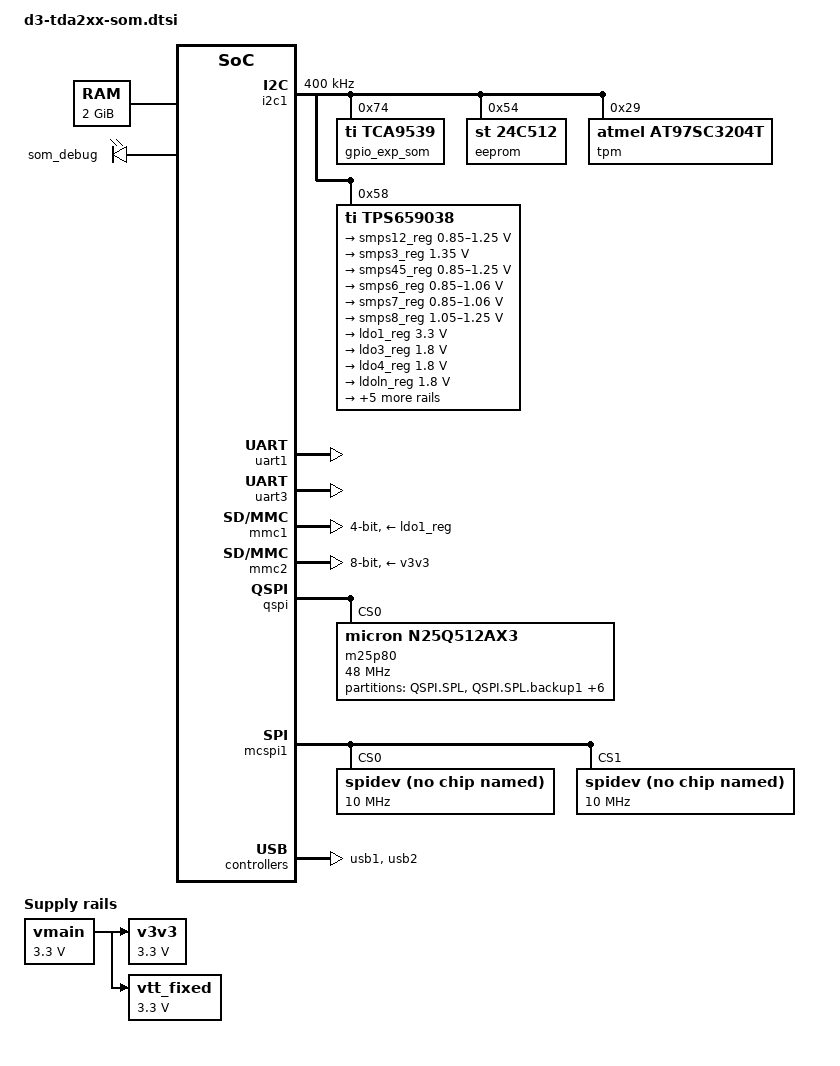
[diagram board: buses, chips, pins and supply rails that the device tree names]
/*
 * Copyright (C) 2016 D3 Engineering
 *
 * Based on am571x-idk.dts
 * Copyright (C) 2015 Texas Instruments Incorporated
 *
 * This program is free software; you can redistribute it and/or modify
 * it under the terms of the GNU General Public License version 2 as
 * published by the Free Software Foundation.
 *
 * This file describes PCB-00C008101. It should describe all components located
 * directly on the SOM board. Additionally, this file should enable a default
 * set of peripheral busses (i2c, mmc, etc) expected to be used by baseboards.
 *
 */

#include <dt-bindings/gpio/gpio.h>
#include <dt-bindings/interrupt-controller/irq.h>

/ {
	compatible = "ti,dra7";

	aliases {
		rtc0 = &rtc;
	};

	memory {
		device_type = "memory";
		reg =  <0x0 0x80000000 0x0 0x80000000>; /* 2 GiB */
	};

	vmain: fixedregulator-vmain {
		compatible = "regulator-fixed";
		regulator-name = "VDD_3V3_IN";
		regulator-min-microvolt = <3300000>;
		regulator-max-microvolt = <3300000>;
		regulator-always-on;
		regulator-boot-on;
	};

	v3v3: fixedregulator-3v3 {
		compatible = "regulator-fixed";
		regulator-name = "VDD_3V3";
		vin-supply = <&vmain>;
		regulator-min-microvolt = <3300000>;
		regulator-max-microvolt = <3300000>;
		regulator-always-on;
		regulator-boot-on;
	};

	vtt_fixed: fixedregulator-vtt {
		compatible = "regulator-fixed";
		regulator-name = "vtt_fixed";
		vin-supply = <&vmain>;
		regulator-min-microvolt = <3300000>;
		regulator-max-microvolt = <3300000>;
		regulator-always-on;
		regulator-boot-on;
	};

	leds {
		compatible = "gpio-leds";
		led_som_debug: led@0 {
			label = "som_debug";
			default-state = "off";
		};
	};
};

&i2c1 {
	status = "okay";
	clock-frequency = <400000>;

	gpio_exp_som: tca9539@74 {
		compatible = "ti,tca9539";
		reg = <0x74>;
		gpio-controller;
		#gpio-cells = <2>;
	};

	eeprom@54 {
		compatible = "st,24c512";
		reg = <0x54>;
		pagesize = <128>;
	};

	tpm@29 {
		compatible = "atmel,at97sc3204t";
		reg = <0x29>;
	};

	tps659038: tps659038@58 {
		compatible = "ti,tps659038";
		reg = <0x58>;

		ti,system-power-controller;

		tps659038_pmic {
			compatible = "ti,tps659038-pmic";
			regulators {
				smps12_reg: smps12 {
					/* VDD_MPU */
					vin-supply = <&vmain>;
					regulator-name = "smps12";
					regulator-min-microvolt = <850000>;
					regulator-max-microvolt = <1250000>;
					regulator-always-on;
					regulator-boot-on;
				};

				smps3_reg: smps3 {
					/* VDD_DDR EMIF1 EMIF2 */
					vin-supply = <&vmain>;
					regulator-name = "smps3";
					regulator-min-microvolt = <1350000>;
					regulator-max-microvolt = <1350000>;
					regulator-always-on;
					regulator-boot-on;
				};

				smps45_reg: smps45 {
					/* VDD_DSPEVE */
					vin-supply = <&vmain>;
					regulator-name = "smps45";
					regulator-min-microvolt = <850000>;
					regulator-max-microvolt = <1250000>;
					regulator-always-on;
					regulator-boot-on;
				};

				smps6_reg: smps6 {
					/* VDD_CORE */
					vin-supply = <&vmain>;
					regulator-name = "smps6";
					regulator-min-microvolt = <850000>;
					regulator-max-microvolt = <1060000>;
					regulator-always-on;
					regulator-boot-on;
				};

				smps7_reg: smps7 {
					/* VDD_CORE */
					vin-supply = <&vmain>;
					regulator-name = "smps7";
					regulator-min-microvolt = <850000>;
					regulator-max-microvolt = <1060000>;
					regulator-always-on;
					regulator-boot-on;
				};

				smps8_reg: smps8 {
					/* VDD_IVAHD */
					vin-supply = <&vmain>;
					regulator-name = "smps8";
					regulator-min-microvolt = <1050000>;
					regulator-max-microvolt = <1250000>;
					regulator-always-on;
					regulator-boot-on;
				};

				ldo1_reg: ldo1 {
					/* VDD_MMC1  */
					vin-supply = <&vmain>;
					regulator-name = "ldo1";
					regulator-min-microvolt = <3300000>;
					regulator-max-microvolt = <3300000>;
					regulator-always-on;
					regulator-boot-on;
				};

				ldo3_reg: ldo3 {
					/* VDD_1V8_PHY */
					vin-supply = <&vmain>;
					regulator-name = "ldo3";
					regulator-min-microvolt = <1800000>;
					regulator-max-microvolt = <1800000>;
					regulator-always-on;
					regulator-boot-on;
				};

				ldo4_reg: ldo4 {
					/* VDD_1V8_PHYB */
					vin-supply = <&vmain>;
					regulator-name = "ldo4";
					regulator-min-microvolt = <1800000>;
					regulator-max-microvolt = <1800000>;
					regulator-always-on;
					regulator-boot-on;
				};

				ldoln_reg: ldoln {
					/* VDD_1V8_PLL */
					vin-supply = <&vmain>;
					regulator-name = "ldoln";
					regulator-min-microvolt = <1800000>;
					regulator-max-microvolt = <1800000>;
					regulator-always-on;
					regulator-boot-on;
				};

				ldo9_reg: ldo9 {
					/* VDD_RTC */
					regulator-name = "ldo9";
					regulator-min-microvolt = <1050000>;
					regulator-max-microvolt = <1050000>;
					regulator-always-on;
					regulator-boot-on;
				};

				ldousb_reg: ldousb {
					/* VDD_3V_USB */
					vin-supply = <&vmain>;
					regulator-name = "ldousb";
					regulator-min-microvolt = <3300000>;
					regulator-max-microvolt = <3300000>;
					regulator-always-on;
					regulator-boot-on;
				};

				ldortc_reg: ldortc {
					/* VRTC_OUT */
					vin-supply = <&vmain>;
					regulator-name = "ldortc";
					regulator-min-microvolt = <1800000>;
					regulator-max-microvolt = <1800000>;
					regulator-always-on;
					regulator-boot-on;
				};

				regen1: regen1 {
					/* 3V3_LOGIC_PWR_EN */
					regulator-name = "regen1";
					regulator-boot-on;
					regulator-always-on;
				};

				regen2: regen2 {
					/* Needed for PMIC internal resource */
					regulator-name = "regen2";
					regulator-boot-on;
					regulator-always-on;
				};
			};
		};


	};
};

&oppdm_mpu {
	vdd-supply = <&smps12_reg>;
};

&oppdm_dspeve {
	vdd-supply = <&smps45_reg>;
};

&oppdm_gpu {
	vdd-supply = <&smps6_reg>;
};

&oppdm_ivahd {
	vdd-supply = <&smps8_reg>;
};

&oppdm_core {
	vdd-supply = <&smps7_reg>;
};

&cpu0 {
	cpu-opp-domain = <&oppdm_mpu>;
	voltage-tolerance = <1>;
};

&uart1 {
	status = "okay";
	interrupts-extended = <&crossbar_mpu GIC_SPI 67 IRQ_TYPE_LEVEL_HIGH>,
			      <&dra7_pmx_core 0x3e0>;
};

&uart3 {
	status = "okay";
	interrupts-extended = <&crossbar_mpu GIC_SPI 69 IRQ_TYPE_LEVEL_HIGH>,
			      <&dra7_pmx_core 0x248>;
};

&mmc1 {
	status = "okay";
	vmmc-supply = <&ldo1_reg>;
	pbias-supply = <&pbias_mmc_reg>;
	bus-width = <4>;
};

&mmc2 {
	status = "okay";
	/* Populattion option for VDD_SHV = VDD_3V3 (default) or VDD_1V8 */
	vmmc-supply = <&v3v3>;
	bus-width = <8>;
	ti,non-removable;
	cap-mmc-dual-data-rate;
};

&qspi {
	status = "okay";
	spi-max-frequency = <48000000>;

	m25p80@0 {
		status = "okay";
		compatible = "micron,n25q512ax3","jedec,spi-nor";
		spi-max-frequency = <48000000>;
		reg = <0>;
		spi-tx-bus-width = <1>;
		spi-rx-bus-width = <1>;
		spi-cpol;
		spi-cpha;
		#address-cells = <1>;
		#size-cells = <1>;

		/* MTD partition table.
		 * The ROM checks the first four physical blocks
		 * for a valid file to boot and the flash here is
		 * 64KiB block size.  The partition locations and
		 * sizes must match the u-boot confirguration.
		 */
		partition@0 {
			label = "QSPI.SPL";
			reg = <0x00000000 0x000010000>;
		};
		partition@1 {
			label = "QSPI.SPL.backup1";
			reg = <0x00010000 0x00010000>;
		};
		partition@2 {
			label = "QSPI.SPL.backup2";
			reg = <0x00020000 0x00010000>;
		};
		partition@3 {
			label = "QSPI.SPL.backup3";
			reg = <0x00030000 0x00010000>;
		};
		partition@4 {
			label = "QSPI.u-boot";
			reg = <0x00040000 0x00100000>;
		};
		partition@5 {
			label = "QSPI.u-boot-spl-os";
			reg = <0x00140000 0x00080000>;
		};
		partition@6 {
			label = "QSPI.u-boot-env";
			reg = <0x001c0000 0x00010000>;
		};
		partition@7 {
			label = "QSPI.u-boot-env.backup1";
			reg = <0x001d0000 0x0010000>;
		};
	};
};

&mcspi1 {
	status = "okay";
	ti,pindir-d0-out-d1-in = <1>;

	spidev@0 {
		compatible = "linux,spidev";
		reg = <0>;
		spi-max-frequency = <10000000>;
	};

	spidev@1 {
		compatible = "linux,spidev";
		reg = <1>;
		spi-max-frequency = <10000000>;
	};
};

&usb1 {
	status = "okay";
	maximum-speed = "super-speed";
};

&usb2 {
	status = "okay";
	maximum-speed = "high-speed";
};
